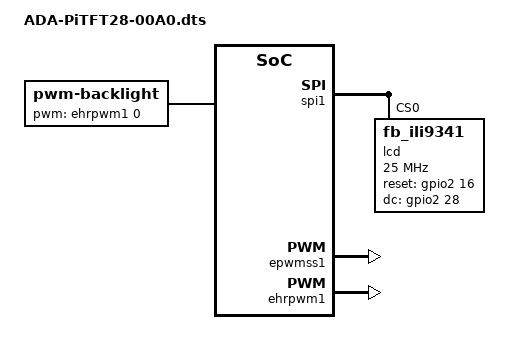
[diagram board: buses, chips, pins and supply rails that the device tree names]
/*
 * Copyright (C) 2015 Bruce Wilson
 *
 * Adafruit PiTFT 2.8" Trouchscreen
 *
 *   http://www.adafruit.com/products/1601
 *
 * This program is free software; you can redistribute it and/or modify
 * it under the terms of the GNU General Public License version 2 as
 * published by the Free Software Foundation.
 */
/dts-v1/;
/plugin/;

/ {
	compatible = "ti,beaglebone", "ti,beaglebone-black";

	/* identification */
	part-number = "ADA-PiTFT28";
	version = "00A0";

	/* state the resources this cape uses */
	exclusive-use =
		/* the pin header uses */
		"P9.31",	/* spi1_SCLK        | RPI - 23 */
		"P9.29",	/* spi1_d0 MISO     | RPI - 21 */
		"P9.30",	/* spi1_d1 MOSI     | RPI - 19 */
		"P9.28",	/* spi1_cs0         | RPI - 24 */
		"P9.42",	/* spi1_cs1         | RPI - 26 */
		"P9.15",	/* gpio1_16 - RESET | RPI - VCC (?) */
		"P9.12",	/* gpio1_28 - DC    | RPI - 22 */
		"P9.14",	/* backlight        | RPI - VCC (?)*/
		"P9.25",	/* touch irq        | RPI - 18 */
		/* the hardware ip uses */
		"gpio1_16",
		"gpio1_28",
		"gpio3_21",
		"ehrpwm1A",
		"spi1";

	fragment@0 {
		target = <&am33xx_pinmux>;
		__overlay__ {
			bb_spi1_pins: pinmux_bb_spi1_pins {
				pinctrl-single,pins = <
					0x190 0x33	/* SCLK | INPUT_PULLUP  | MODE3 */
					0x194 0x33	/* MISO | INPUT_PULLUP  | MODE3 */
					0x198 0x13	/* MOSI | OUTPUT_PULLUP | MODE3 */
					0x19c 0x13	/* CE0  | OUTPUT_PULLUP | MODE3 */
					0x164 0x12	/* CE1  | OUTPUT_PULLUP | MODE2 */
				>;
			};

			lcd_ctrl_pinmux: lcd_ctrl_pins {
				pinctrl-single,pins = <
					0x040 0x17	/* RESET | OUTPUT_PULLUP | MODE7 */
					0x078 0x17	/* DC    | OUTPUT_PULLUP | MODE7 */
					0x1ac 0x37	/* T-IRQ | INPUT_PULLUP  | MODE7 */
				>;
			};

			pwm_bl_pins: pinmux_pwm_bl_pins {
				pinctrl-single,pins = <
					0x48 0x06       /* Backlight | PWM | MODE6 */
				>;
			};
		};
	};

	fragment@1 {
		target = <&spi1>;
		__overlay__ {
			status = "okay";
			pinctrl-names = "default";
			pinctrl-0 = <&bb_spi1_pins>;

			#address-cells = <1>;
			#size-cells = <0>;

			lcd@0{
				compatible = "fb_ili9341";
				reg = <0>;

				pinctrl-names = "default";
				pinctrl-0 = <&lcd_ctrl_pinmux>;

				spi-max-frequency = <25000000>;
				rotate = <270>;
				bgr;
				fps = <50>;
				buswidth = <8>;
				reset-gpios = <&gpio2 16 0>;
				dc-gpios = <&gpio2 28 0>;

				debug = <3>;
			};
		};
	};

	fragment@2 {
		target = <&epwmss1>;
		__overlay__ {
			status = "okay";
		};
	};

	fragment@3 {
		target = <&ehrpwm1>;
		__overlay__ {
			status = "okay";
		};
	};

	fragment@4 {
		target = <&ocp>;
		__overlay__ {
			backlight {
				compatible = "pwm-backlight";
				pinctrl-names = "default";
				pinctrl-0 = <&pwm_bl_pins>;
				status = "okay";

				pwms = <&ehrpwm1 0 500000 0>;
				pwm-names = "backlight";
				brightness-levels = <0 4 8 16 32 64 128 255>;
				default-brightness-level = <7>; /* index to the array above */
			};
		};
	};
};
